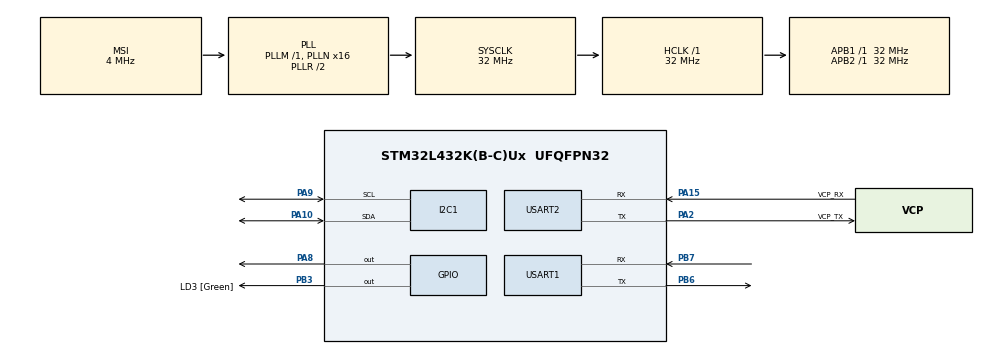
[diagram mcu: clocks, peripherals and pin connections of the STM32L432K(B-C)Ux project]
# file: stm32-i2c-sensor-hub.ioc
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FREERTOS.Tasks01=defaultTask,24,128,StartDefaultTask,Default,NULL,Dynamic,NULL,NULL
FREERTOS.configTOTAL_HEAP_SIZE=8192
FREERTOS.configUSE_NEWLIB_REENTRANT=1
FREERTOS.copyHeapFile=1
I2C1.Timing=0x00B07CB4
Mcu.Family=STM32L4
Mcu.Name=STM32L432K(B-C)Ux
Mcu.Package=UFQFPN32
NVIC.PriorityGroup=NVIC_PRIORITYGROUP_4
NVIC.TIM6_DAC_IRQn=true\:15\:0\:false\:false\:true\:false\:false\:true\:true
NVIC.TimeBase=TIM6_DAC_IRQn
NVIC.TimeBaseIP=TIM6
NVIC.USART1_IRQn=true\:6\:0\:true\:false\:true\:true\:true\:true\:true
PA0.GPIO_Label=MCO [High speed clock in]
PA0.Mode=HSE-External-Clock-Source-for-LittleOrca
PA0.Signal=RCC_CK_IN
PA10.Mode=I2C
PA10.Signal=I2C1_SDA
PA13\ (JTMS-SWDIO).GPIO_Label=SWDIO
PA13\ (JTMS-SWDIO).Mode=Serial_Wire
PA13\ (JTMS-SWDIO).Signal=SYS_JTMS-SWDIO
PA14\ (JTCK-SWCLK).GPIO_Label=SWCLK
PA14\ (JTCK-SWCLK).Mode=Serial_Wire
PA14\ (JTCK-SWCLK).Signal=SYS_JTCK-SWCLK
PA15\ (JTDI).GPIO_Label=VCP_RX
PA15\ (JTDI).Mode=Asynchronous
PA15\ (JTDI).Signal=USART2_RX
PA2.GPIO_Label=VCP_TX
PA2.Mode=Asynchronous
PA2.Signal=USART2_TX
PA8.Signal=GPIO_Output
PA9.Mode=I2C
PA9.Signal=I2C1_SCL
PB3\ (JTDO-TRACESWO).GPIO_Label=LD3 [Green]
PB3\ (JTDO-TRACESWO).Signal=GPIO_Output
PB6.Mode=Asynchronous
PB6.Signal=USART1_TX
PB7.Mode=Asynchronous
PB7.Signal=USART1_RX
PC14-OSC32_IN\ (PC14).Mode=LSE-External-Oscillator
PC14-OSC32_IN\ (PC14).Signal=RCC_OSC32_IN
PC15-OSC32_OUT\ (PC15).Mode=LSE-External-Oscillator
PC15-OSC32_OUT\ (PC15).Signal=RCC_OSC32_OUT
ProjectManager.HeapSize=0x200
ProjectManager.StackSize=0x400
ProjectManager.TargetToolchain=STM32CubeIDE
RCC.AHBFreq_Value=32000000
RCC.APB1Freq_Value=32000000
RCC.APB1TimFreq_Value=32000000
RCC.APB2Freq_Value=32000000
RCC.APB2TimFreq_Value=32000000
RCC.CortexFreq_Value=32000000
RCC.HCLKFreq_Value=32000000
RCC.HSE_VALUE=8000000
RCC.HSI16_VALUE=16000000
RCC.HSI48_VALUE=48000000
RCC.HSI_VALUE=16000000
RCC.MSI_VALUE=4000000
RCC.PLLMUL=RCC_PLLMUL_4
RCC.PLLN=16
RCC.SYSCLKFreq_VALUE=32000000
RCC.SYSCLKSource=RCC_SYSCLKSOURCE_PLLCLK
RCC.VCOOutputFreq_Value=64000000
USART1.VirtualMode-Asynchronous=VM_ASYNC
USART2.VirtualMode-Asynchronous=VM_ASYNC
VP_FREERTOS_VS_CMSIS_V2.Mode=CMSIS_V2
VP_SYS_VS_tim6.Mode=TIM6
board=NUCLEO-L432KC

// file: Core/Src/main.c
/* USER CODE BEGIN Header */
/**
 ******************************************************************************
 * @file           : main.c
 * @brief          : Main program body
 ******************************************************************************
 * @attention
 *
 * Copyright (c) 2025 STMicroelectronics.
 * All rights reserved.
 *
 * This software is licensed under terms that can be found in the LICENSE file
 * in the root directory of this software component.
 * If no LICENSE file comes with this software, it is provided AS-IS.
 *
 ******************************************************************************
 */
/* USER CODE END Header */
#include "main.h"
#include "cmsis_os.h"

/* USER CODE BEGIN Includes */
#include <stdio.h>
#include <string.h>
#include <stdbool.h>

#include "config/config.h"
#include "config/protocol.h"
#include "task/sensor_manager.h"
#include "task/cmd_task.h"

/* USER CODE END Includes */

I2C_HandleTypeDef hi2c1;

UART_HandleTypeDef huart1;
UART_HandleTypeDef huart2;

/* Definitions for defaultTask */
osThreadId_t defaultTaskHandle;
const osThreadAttr_t defaultTask_attributes = {
  .name = "defaultTask",
  .stack_size = 128 * 4,
  .priority = (osPriority_t)osPriorityNormal,
};
/* USER CODE BEGIN PV */
static SensorManager_t *mgr;
static volatile uint8_t rx_byte;    // volatile storage
static uint8_t          rx_temp;    // non-volatile buffer
static osMutexId_t      busMutex;   // shared I²C mutex

/* USER CODE END PV */

void SystemClock_Config(void);
static void MX_GPIO_Init(void);
static void MX_USART2_UART_Init(void);
static void MX_I2C1_Init(void);
static void MX_USART1_UART_Init(void);
void StartDefaultTask(void *argument);

/* USER CODE BEGIN 0 */

typedef enum {
    UART_STATE_WAIT_SOF = 0,
    UART_STATE_COLLECT
} UartRxState_t;

void HAL_UART_RxCpltCallback(UART_HandleTypeDef *h) {
    static UartRxState_t uart_state    = UART_STATE_WAIT_SOF;
    static uint8_t      frame_buf[CMD_FRAME_SIZE];
    static uint8_t      frame_pos       = 0;
    static uint32_t     frame_start_ms  = 0;
    BaseType_t          xHigherPrioWoken = pdFALSE;

    if (h->Instance != USART1) {
        // still need to re-arm if it wasn't ours
        HAL_UART_Receive_IT(&huart1, &rx_temp, 1);
        return;
    }

    uint8_t  byte = rx_temp;
    uint32_t now  = HAL_GetTick();

    switch (uart_state) {
    case UART_STATE_WAIT_SOF:
        if (byte == SOF_MARKER) {
            frame_buf[0]      = byte;
            frame_pos         = 1;
            frame_start_ms    = now;
            uart_state        = UART_STATE_COLLECT;
        }
        break;

    case UART_STATE_COLLECT:
        // timeout?
        if ((now - frame_start_ms) > UART_FRAME_TIMEOUT_MS) {
            uart_state = UART_STATE_WAIT_SOF;
            frame_pos  = 0;
            break;
        }

        // guard overflow
        if (frame_pos < CMD_FRAME_SIZE) {
            frame_buf[frame_pos++] = byte;
        } else {
            // weird extra byte: reset
            uart_state = UART_STATE_WAIT_SOF;
            frame_pos  = 0;
            break;
        }

        if (frame_pos >= CMD_FRAME_SIZE) {
            // got whole frame: parse manually
            uint8_t board_id    = frame_buf[1];
            uint8_t addr7       = frame_buf[2];
            uint8_t cmd         = frame_buf[3];
            uint8_t param       = frame_buf[4];
            uint8_t checksum    = frame_buf[5];
            uint8_t calc_chk    = board_id ^ addr7 ^ cmd ^ param;

            if (checksum == calc_chk) {
                // pack into struct on stack; queue will copy its bytes
                COMMAND_t packet;
                packet.sof       = frame_buf[0];
                packet.board_id  = board_id;
                packet.addr7     = addr7;
                packet.cmd       = cmd;
                packet.param     = param;
                packet.checksum  = checksum;
                xQueueSendFromISR(cmdQueue, &packet, &xHigherPrioWoken);
            }
            // reset for next frame
            uart_state = UART_STATE_WAIT_SOF;
            frame_pos  = 0;
        }
        break;
    }

    // always re-arm
    HAL_UART_Receive_IT(&huart1, &rx_temp, 1);
    portYIELD_FROM_ISR(xHigherPrioWoken);
}

/* USER CODE END 0 */

int main(void)
{

  /* MCU Configuration--------------------------------------------------------*/

  /* Reset of all peripherals, Initializes the Flash interface and the Systick. */
  HAL_Init();

  /* Configure the system clock */
  SystemClock_Config();

  /* Initialize all configured peripherals */
  MX_GPIO_Init();
  MX_USART2_UART_Init();
  MX_I2C1_Init();
  MX_USART1_UART_Init();
  /* USER CODE BEGIN 2 */
  HAL_UART_Receive_IT(&huart1, &rx_temp, 1);

  /* USER CODE END 2 */

  /* Init scheduler */
  osKernelInitialize();

  /* USER CODE BEGIN RTOS_MUTEX */
  busMutex = osMutexNew(NULL);
  if (busMutex == NULL) Error_Handler();
  // create the sensor manager
  mgr = SensorManager_Create(busMutex, &hi2c1);
  if (!mgr) Error_Handler();

  /* USER CODE END RTOS_MUTEX */

  /* Create the thread(s) */
  /* creation of defaultTask */
  defaultTaskHandle = osThreadNew(StartDefaultTask, NULL, &defaultTask_attributes);

  /* USER CODE BEGIN RTOS_EVENTS */

  cmdQueue = xQueueCreate(2, sizeof(COMMAND_t));
  if (!cmdQueue) Error_Handler();

  osThreadAttr_t cmdTask_attr = {
      .name = "cmdTask",
      .stack_size = 192 * 4,
      .priority = (osPriority_t) osPriorityNormal
  };
  osThreadNew(CommandTask, mgr, &cmdTask_attr);

  /* USER CODE END RTOS_EVENTS */

  /* Start scheduler */
  osKernelStart();

  /* We should never get here as control is now taken by the scheduler */

  /* Infinite loop */
  while (1)
  {

  }
}

void SystemClock_Config(void)
{
  RCC_OscInitTypeDef RCC_OscInitStruct = {0};
  RCC_ClkInitTypeDef RCC_ClkInitStruct = {0};

  /** Configure the main internal regulator output voltage
  */
  if (HAL_PWREx_ControlVoltageScaling(PWR_REGULATOR_VOLTAGE_SCALE1) != HAL_OK)
  {
    Error_Handler();
  }

  /** Configure LSE Drive Capability
  */
  HAL_PWR_EnableBkUpAccess();
  __HAL_RCC_LSEDRIVE_CONFIG(RCC_LSEDRIVE_LOW);

  /** Initializes the RCC Oscillators according to the specified parameters
  * in the RCC_OscInitTypeDef structure.
  */
  RCC_OscInitStruct.OscillatorType = RCC_OSCILLATORTYPE_LSE|RCC_OSCILLATORTYPE_MSI;
  RCC_OscInitStruct.LSEState = RCC_LSE_ON;
  RCC_OscInitStruct.MSIState = RCC_MSI_ON;
  RCC_OscInitStruct.MSICalibrationValue = 0;
  RCC_OscInitStruct.MSIClockRange = RCC_MSIRANGE_6;
  RCC_OscInitStruct.PLL.PLLState = RCC_PLL_ON;
  RCC_OscInitStruct.PLL.PLLSource = RCC_PLLSOURCE_MSI;
  RCC_OscInitStruct.PLL.PLLM = 1;
  RCC_OscInitStruct.PLL.PLLN = 16;
  RCC_OscInitStruct.PLL.PLLP = RCC_PLLP_DIV7;
  RCC_OscInitStruct.PLL.PLLQ = RCC_PLLQ_DIV2;
  RCC_OscInitStruct.PLL.PLLR = RCC_PLLR_DIV2;
  if (HAL_RCC_OscConfig(&RCC_OscInitStruct) != HAL_OK)
  {
    Error_Handler();
  }

  /** Initializes the CPU, AHB and APB buses clocks
  */
  RCC_ClkInitStruct.ClockType = RCC_CLOCKTYPE_HCLK|RCC_CLOCKTYPE_SYSCLK
                              |RCC_CLOCKTYPE_PCLK1|RCC_CLOCKTYPE_PCLK2;
  RCC_ClkInitStruct.SYSCLKSource = RCC_SYSCLKSOURCE_PLLCLK;
  RCC_ClkInitStruct.AHBCLKDivider = RCC_SYSCLK_DIV1;
  RCC_ClkInitStruct.APB1CLKDivider = RCC_HCLK_DIV1;
  RCC_ClkInitStruct.APB2CLKDivider = RCC_HCLK_DIV1;

  if (HAL_RCC_ClockConfig(&RCC_ClkInitStruct, FLASH_LATENCY_1) != HAL_OK)
  {
    Error_Handler();
  }

  /** Enable MSI Auto calibration
  */
  HAL_RCCEx_EnableMSIPLLMode();
}

static void MX_I2C1_Init(void)
{

  hi2c1.Instance = I2C1;
  hi2c1.Init.Timing = 0x00B07CB4;
  hi2c1.Init.OwnAddress1 = 0;
  hi2c1.Init.AddressingMode = I2C_ADDRESSINGMODE_7BIT;
  hi2c1.Init.DualAddressMode = I2C_DUALADDRESS_DISABLE;
  hi2c1.Init.OwnAddress2 = 0;
  hi2c1.Init.OwnAddress2Masks = I2C_OA2_NOMASK;
  hi2c1.Init.GeneralCallMode = I2C_GENERALCALL_DISABLE;
  hi2c1.Init.NoStretchMode = I2C_NOSTRETCH_DISABLE;
  if (HAL_I2C_Init(&hi2c1) != HAL_OK)
  {
    Error_Handler();
  }

  /** Configure Analogue filter
  */
  if (HAL_I2CEx_ConfigAnalogFilter(&hi2c1, I2C_ANALOGFILTER_ENABLE) != HAL_OK)
  {
    Error_Handler();
  }

  /** Configure Digital filter
  */
  if (HAL_I2CEx_ConfigDigitalFilter(&hi2c1, 0) != HAL_OK)
  {
    Error_Handler();
  }

}

static void MX_USART1_UART_Init(void)
{

  huart1.Instance = USART1;
  huart1.Init.BaudRate = 115200;
  huart1.Init.WordLength = UART_WORDLENGTH_8B;
  huart1.Init.StopBits = UART_STOPBITS_1;
  huart1.Init.Parity = UART_PARITY_NONE;
  huart1.Init.Mode = UART_MODE_TX_RX;
  huart1.Init.HwFlowCtl = UART_HWCONTROL_NONE;
  huart1.Init.OverSampling = UART_OVERSAMPLING_16;
  huart1.Init.OneBitSampling = UART_ONE_BIT_SAMPLE_DISABLE;
  huart1.AdvancedInit.AdvFeatureInit = UART_ADVFEATURE_NO_INIT;
  if (HAL_UART_Init(&huart1) != HAL_OK)
  {
    Error_Handler();
  }

}

static void MX_USART2_UART_Init(void)
{

  huart2.Instance = USART2;
  huart2.Init.BaudRate = 115200;
  huart2.Init.WordLength = UART_WORDLENGTH_8B;
  huart2.Init.StopBits = UART_STOPBITS_1;
  huart2.Init.Parity = UART_PARITY_NONE;
  huart2.Init.Mode = UART_MODE_TX_RX;
  huart2.Init.HwFlowCtl = UART_HWCONTROL_NONE;
  huart2.Init.OverSampling = UART_OVERSAMPLING_16;
  huart2.Init.OneBitSampling = UART_ONE_BIT_SAMPLE_DISABLE;
  huart2.AdvancedInit.AdvFeatureInit = UART_ADVFEATURE_NO_INIT;
  if (HAL_UART_Init(&huart2) != HAL_OK)
  {
    Error_Handler();
  }

}

static void MX_GPIO_Init(void)
{
  GPIO_InitTypeDef GPIO_InitStruct = {0};

  /* GPIO Ports Clock Enable */
  __HAL_RCC_GPIOC_CLK_ENABLE();
  __HAL_RCC_GPIOA_CLK_ENABLE();
  __HAL_RCC_GPIOB_CLK_ENABLE();

  /*Configure GPIO pin Output Level */
  HAL_GPIO_WritePin(GPIOA, GPIO_PIN_8, GPIO_PIN_RESET);

  /*Configure GPIO pin Output Level */
  HAL_GPIO_WritePin(LD3_GPIO_Port, LD3_Pin, GPIO_PIN_RESET);

  /*Configure GPIO pin : PA8 */
  GPIO_InitStruct.Pin = GPIO_PIN_8;
  GPIO_InitStruct.Mode = GPIO_MODE_OUTPUT_PP;
  GPIO_InitStruct.Pull = GPIO_NOPULL;
  GPIO_InitStruct.Speed = GPIO_SPEED_FREQ_LOW;
  HAL_GPIO_Init(GPIOA, &GPIO_InitStruct);

  /*Configure GPIO pin : LD3_Pin */
  GPIO_InitStruct.Pin = LD3_Pin;
  GPIO_InitStruct.Mode = GPIO_MODE_OUTPUT_PP;
  GPIO_InitStruct.Pull = GPIO_NOPULL;
  GPIO_InitStruct.Speed = GPIO_SPEED_FREQ_LOW;
  HAL_GPIO_Init(LD3_GPIO_Port, &GPIO_InitStruct);

}

void StartDefaultTask(void *argument)
{
  /* USER CODE BEGIN 5 */

  #ifdef DEBUG
    char buf[64];
  #endif

    for (;;) {
  #ifdef DEBUG
      for (uint8_t i = 0; i < SensorManager_GetCount(mgr); ++i) {
          SM_Entry_t *entry = SensorManager_GetByIndex(mgr, i);
          if (!entry) continue;

          osThreadId_t tid = SensorTask_GetThread(entry->task);
          if (!tid) continue;

          UBaseType_t watermark = uxTaskGetStackHighWaterMark(tid);
          snprintf(buf, sizeof(buf), "[Sensor %d] stack left: %lu bytes\r\n",
                  i, watermark * sizeof(StackType_t));
          HAL_UART_Transmit(&huart2, (uint8_t*)buf, strlen(buf), HAL_MAX_DELAY);
      }

      // print command task stack:
      UBaseType_t cmd_watermark = CommandTask_GetStackHighWaterMark();
      snprintf(buf, sizeof(buf), "[CmdTask] stack left: %lu bytes\r\n", cmd_watermark * sizeof(StackType_t));
      HAL_UART_Transmit(&huart2, (uint8_t*)buf, strlen(buf), HAL_MAX_DELAY);

      // print heap:
      size_t freeHeap = xPortGetFreeHeapSize();
      snprintf(buf, sizeof(buf), "[Sys] Free heap: %u bytes\r\n", (unsigned int)freeHeap);
      HAL_UART_Transmit(&huart2, (uint8_t*)buf, strlen(buf), HAL_MAX_DELAY);
  #endif

      osDelay(1000);
    }
  /* USER CODE END 5 */
}

void HAL_TIM_PeriodElapsedCallback(TIM_HandleTypeDef *htim)
{
  if (htim->Instance == TIM6)
  {
    HAL_IncTick();
  }
}

void Error_Handler(void)
{
  /* USER CODE BEGIN Error_Handler_Debug */
  /* User can add his own implementation to report the HAL error return state */
  __disable_irq();

  #ifdef DEBUG
  const char msg[] = "!! ERROR_HANDLER: fatal error, halting\r\n";
  HAL_UART_Transmit(&huart2, (uint8_t*)msg, sizeof(msg)-1, HAL_MAX_DELAY);
  #endif // DEBUG

  while (1)
  {
  }
  /* USER CODE END Error_Handler_Debug */
}

#ifdef  USE_FULL_ASSERT
/**
  * @brief  Reports the name of the source file and the source line number
  *         where the assert_param error has occurred.
  * @param  file: pointer to the source file name
  * @param  line: assert_param error line source number
  * @retval None
  */
void assert_failed(uint8_t *file, uint32_t line)
{
  /* USER CODE BEGIN 6 */
  /* User can add his own implementation to report the file name and line number,
     ex: printf("Wrong parameters value: file %s on line %d\r\n", file, line) */

    #ifdef DEBUG
    {
      char buf[128];
      int len = snprintf(buf, sizeof(buf),
                        "!! ASSERT_FAILED in %s at line %lu\r\n",
                        file, (unsigned long)line);
      if (len > 0) {
        HAL_UART_Transmit(&huart2, (uint8_t*)buf, len, HAL_MAX_DELAY);
      }
    }
    #endif

  /* USER CODE END 6 */
}
#endif /* USE_FULL_ASSERT */
